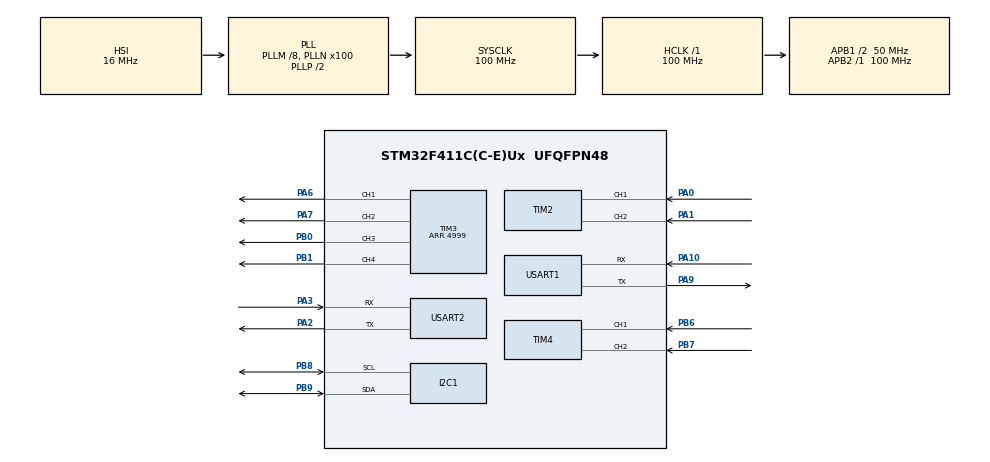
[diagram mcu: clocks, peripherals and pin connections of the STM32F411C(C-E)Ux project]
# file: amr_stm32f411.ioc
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Mcu.Family=STM32F4
Mcu.Name=STM32F411C(C-E)Ux
Mcu.Package=UFQFPN48
NVIC.PriorityGroup=NVIC_PRIORITYGROUP_4
PA0-WKUP.Signal=S_TIM2_CH1_ETR
PA1.Signal=S_TIM2_CH2
PA10.Mode=Asynchronous
PA10.Signal=USART1_RX
PA2.Mode=Asynchronous
PA2.Signal=USART2_TX
PA3.Mode=Asynchronous
PA3.Signal=USART2_RX
PA6.Signal=S_TIM3_CH1
PA7.Signal=S_TIM3_CH2
PA9.Mode=Asynchronous
PA9.Signal=USART1_TX
PB0.Signal=S_TIM3_CH3
PB1.Signal=S_TIM3_CH4
PB6.Signal=S_TIM4_CH1
PB7.Signal=S_TIM4_CH2
PB8.Mode=I2C
PB8.Signal=I2C1_SCL
PB9.Mode=I2C
PB9.Signal=I2C1_SDA
ProjectManager.HeapSize=0x200
ProjectManager.StackSize=0x400
ProjectManager.TargetToolchain=STM32CubeIDE
RCC.48MHZClocksFreq_Value=50000000
RCC.AHBFreq_Value=100000000
RCC.APB1CLKDivider=RCC_HCLK_DIV2
RCC.APB1Freq_Value=50000000
RCC.APB1TimFreq_Value=100000000
RCC.APB2Freq_Value=100000000
RCC.APB2TimFreq_Value=100000000
RCC.CortexFreq_Value=100000000
RCC.HCLKFreq_Value=100000000
RCC.HSE_VALUE=25000000
RCC.HSI_VALUE=16000000
RCC.LSE_VALUE=32768
RCC.PLLM=8
RCC.PLLN=100
RCC.SYSCLKFreq_VALUE=100000000
RCC.SYSCLKSource=RCC_SYSCLKSOURCE_PLLCLK
RCC.VCOOutputFreq_Value=200000000
SH.S_TIM2_CH1_ETR.0=TIM2_CH1,Encoder_Interface
SH.S_TIM2_CH2.0=TIM2_CH2,Encoder_Interface
SH.S_TIM3_CH1.0=TIM3_CH1,PWM Generation1 CH1
SH.S_TIM3_CH2.0=TIM3_CH2,PWM Generation2 CH2
SH.S_TIM3_CH3.0=TIM3_CH3,PWM Generation3 CH3
SH.S_TIM3_CH4.0=TIM3_CH4,PWM Generation4 CH4
SH.S_TIM4_CH1.0=TIM4_CH1,Encoder_Interface
SH.S_TIM4_CH2.0=TIM4_CH2,Encoder_Interface
TIM2.EncoderMode=TIM_ENCODERMODE_TI12
TIM3.Channel-PWM\ Generation1\ CH1=TIM_CHANNEL_1
TIM3.Channel-PWM\ Generation2\ CH2=TIM_CHANNEL_2
TIM3.Channel-PWM\ Generation3\ CH3=TIM_CHANNEL_3
TIM3.Channel-PWM\ Generation4\ CH4=TIM_CHANNEL_4
TIM3.Period=4999
TIM4.EncoderMode=TIM_ENCODERMODE_TI12
USART1.VirtualMode=VM_ASYNC
USART2.VirtualMode=VM_ASYNC
VP_TIM3_VS_ClockSourceINT.Mode=Internal
board=custom

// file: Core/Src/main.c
/* USER CODE BEGIN Header */
/**
  ******************************************************************************
  * @file           : main.c
  * @brief          : Main program body
  ******************************************************************************
  * @attention
  *
  * Copyright (c) 2026 STMicroelectronics.
  * All rights reserved.
  *
  * This software is licensed under terms that can be found in the LICENSE file
  * in the root directory of this software component.
  * If no LICENSE file comes with this software, it is provided AS-IS.
  *
  ******************************************************************************
  */
/* USER CODE END Header */
#include "main.h"

/* USER CODE BEGIN Includes */
#include <stdio.h>          /* snprintf cho debug output */
#include "motor_driver.h"
#include "servo_buslinker.h"
#include "jetson_comm.h"
#include "ackermann.h"
#include "bno055_test.h"  /* Test độc lập BNO055 qua I2C1 - xem CLAUDE.md mục 8 */
#include "dwt_log.h"      /* Đo timing baseline bằng DWT (branch baseline-dwt) */
/* USER CODE END Includes */

I2C_HandleTypeDef hi2c1;

TIM_HandleTypeDef htim2;
TIM_HandleTypeDef htim3;
TIM_HandleTypeDef htim4;

UART_HandleTypeDef huart1;
UART_HandleTypeDef huart2;

/* USER CODE BEGIN PV */
static uint32_t last_odom_ms = 0;     /* Mốc thời gian gửi odom gần nhất */
static float    current_steer = 0.0f; /* Góc lái hiện tại (độ) để gửi lên Jetson */

/* ===== Watchdog lệnh $VEL từ Jetson (AN TOÀN — bắt buộc, xem giải thích ở
 * vòng lặp chính bên dưới). Nếu Jetson ngừng gửi lệnh (crash, kill node, rút
 * cáp USART2), STM32 phải tự dừng motor, không thể trông chờ Jetson luôn gửi
 * lệnh đều đặn. ===== */
#define VEL_WATCHDOG_TIMEOUT_MS   300U  /* CẦN TUNE thực nghiệm: đủ ngắn để an
                                          * toàn, đủ dài để không dừng nhầm do
                                          * jitter mạng/CPU phía Jetson */
static uint32_t last_vel_rx_ms       = 0; /* Mốc thời gian nhận $VEL hợp lệ gần nhất */
static uint8_t  vel_watchdog_tripped = 0; /* Tránh gọi SetSpeed(0,0) lặp lại mỗi vòng lặp */

/* ===== Test độc lập BNO055 (xem bno055_test.h) — CHỈ để xác nhận module
 * sống trước khi tích hợp, chưa route vào ackermann.c/jetson_comm.c. ===== */
static BNO055_TestResult bno_result;      /* Kết quả quét địa chỉ + CHIP_ID lúc init */
static uint32_t          last_imu_ms = 0; /* Mốc thời gian đọc heading gần nhất */
#define IMU_READ_INTERVAL_MS  150U        /* 1 lần/150ms, không ảnh hưởng watchdog 300ms */

/* [ĐO] Số lần đã đo overhead ghi log (tối đa DWT_OVH_SAMPLES, xem dwt_log.h) */
static uint32_t dwt_ovh_done = 0;
/* USER CODE END PV */

void SystemClock_Config(void);
static void MX_GPIO_Init(void);
static void MX_TIM2_Init(void);
static void MX_TIM3_Init(void);
static void MX_TIM4_Init(void);
static void MX_USART1_UART_Init(void);
static void MX_USART2_UART_Init(void);
static void MX_I2C1_Init(void);
/* USER CODE BEGIN PFP */
static void on_cmd_vel(float linear, float angular);
/* USER CODE END PFP */

int main(void)
{

  /* MCU Configuration--------------------------------------------------------*/

  /* Reset of all peripherals, Initializes the Flash interface and the Systick. */
  HAL_Init();

  /* Configure the system clock */
  SystemClock_Config();

  /* USER CODE BEGIN SysInit */
  DWT_Init();   /* [ĐO] Bật DWT CYCCNT (100 MHz -> 10 ns/tick). Chỉ đếm, chưa ghi log. */
  /* USER CODE END SysInit */

  /* Initialize all configured peripherals */
  MX_GPIO_Init();
  MX_TIM2_Init();
  MX_TIM3_Init();
  MX_TIM4_Init();
  MX_USART1_UART_Init();
  MX_USART2_UART_Init();
  MX_I2C1_Init();
  /* USER CODE BEGIN 2 */
  HAL_Delay(500);          // Đủ để các module boot, không trigger motor timeout
  DRV_Motor_Init();        // Không check return — tiếp tục dù config fail
  DRV_Servo_Init();        // Servo về vị trí trung tâm (lái thẳng)
  APP_Comm_Init(on_cmd_vel); // Bật UART2 nhận lệnh "$VEL" từ Jetson

  /* ---- Test độc lập BNO055 (tạm thời, xem bno055_test.h) ---- */
  bno_result = BNO055_Test_Init(&hi2c1);
  {
      char dbg[48];
      int n = snprintf(dbg, sizeof(dbg), "$IMU,%u,0x%02X,0x%02X\n",
                        (unsigned)bno_result.found,
                        (unsigned)(bno_result.addr8 >> 1),
                        (unsigned)bno_result.chip_id);
      if (n > 0) {
          APP_Comm_DebugPrint(dbg); /* Gửi qua USART2 -> đọc được qua CH340 */
      }
  }
  /* USER CODE END 2 */

  /* Infinite loop */
  while (1)
  {

    /* USER CODE BEGIN 3 */
	  /* ---- Gửi odometry lên Jetson định kỳ mỗi 10ms (100 Hz) ---- */
	  uint32_t now = HAL_GetTick();
	  if (now - last_odom_ms >= 10U) {
		  last_odom_ms = now;

		  /* Đọc encoder 2 bánh */
		  int32_t enc_l = 0, enc_r = 0;
		  DRV_Motor_GetEncoder(&enc_l, &enc_r);

		  /* Gửi "$ODO,enc_l,enc_r,steer\n" lên Jetson */
		  /* [ĐO] EV_ODO bao trọn snprintf + gửi polling, len = số byte thật */
		  uint32_t dwt_t0 = DWT_Now();
		  int odo_len = APP_Comm_SendOdom(enc_l, enc_r, current_steer);
		  DWT_Log(EV_ODO, dwt_t0, DWT_Now(), (uint16_t)odo_len);

		  /* [ĐO] Đo chi phí của chính việc ghi log, chỉ DWT_OVH_SAMPLES lần đầu
		   * phiên đo (để không tốn chỗ trong buffer). EV_LOG_OVH bao trọn đúng
		   * 1 lần ghi bản ghi rỗng EV_DUMMY -> thời lượng của nó = chi phí
		   * 1 lần DWT_Log() + 1 lần DWT_Now(). */
		  if (log_active == DWT_LOG_RUN && dwt_ovh_done < DWT_OVH_SAMPLES) {
			  dwt_ovh_done++;
			  uint32_t dwt_ta = DWT_Now();
			  DWT_Log(EV_DUMMY, dwt_ta, dwt_ta, 0u);
			  DWT_Log(EV_LOG_OVH, dwt_ta, DWT_Now(), 0u);
		  }
	  }

	  /* ---- Vòng PID tốc độ 2 bánh (closed-loop, xem motor_driver.c/motor_pid.h).
	   * Tự throttle bên trong theo chu kỳ riêng, gọi mỗi vòng lặp không tốn gì
	   * khi chưa tới lúc. ---- */
	  DRV_Motor_UpdatePID();

	  /* ---- Xử lý lệnh "$VEL" nhận từ Jetson (gọi on_cmd_vel khi đủ frame) ---- */
	  APP_Comm_Parse();

	  /* [ĐO] Bắt đầu ghi log khi nhận $VEL hợp lệ ĐẦU TIÊN -- tránh buffer bị
	   * lấp đầy bởi giai đoạn chờ (xe đứng yên) trước khi script gửi lệnh. */
	  if (log_active == DWT_LOG_IDLE && last_vel_rx_ms != 0U) {
		  DWT_LogStart();
	  }

	  /* ---- AN TOÀN: watchdog $VEL — xem giải thích đầy đủ ở khai báo biến
	   * last_vel_rx_ms phía trên.
	   * ⚠️ BẮT BUỘC đọc lại HAL_GetTick() Ở ĐÂY, KHÔNG dùng biến 'now' chụp từ
	   * đầu vòng lặp (bug đã sửa 2026-09-05): APP_Comm_Parse() ở trên đặt
	   * last_vel_rx_ms = HAL_GetTick() tại thời điểm MỚI HƠN 'now' (do
	   * APP_Comm_SendOdom blocking ~2-3ms xen giữa). Khi last_vel_rx_ms > now,
	   * phép trừ unsigned TRÀN XUỐNG ~4.29 tỷ > 300 -> watchdog trip OAN ngay
	   * sau mỗi lệnh $VEL hợp lệ, cắt động cơ liên tục (biểu hiện: xe giật cục
	   * dù comm hoàn toàn tốt — $VEL nhận + parse 100% thành công). ---- */
	  uint32_t now_wd = HAL_GetTick();
	  if (last_vel_rx_ms != 0U && !vel_watchdog_tripped &&
	      (now_wd - last_vel_rx_ms) > VEL_WATCHDOG_TIMEOUT_MS) {
		  DRV_Motor_SetSpeed(0, 0);
		  vel_watchdog_tripped = 1U;
		  /* [ĐO] Script ngừng gửi $VEL -> kết thúc phiên đo, log_buf đứng yên
		   * để dump. Chỉ ĐỌC sự kiện watchdog, không đổi logic watchdog. */
		  DWT_LogStop();
	  }

	  /* ---- Test độc lập BNO055: đọc heading tối đa 1 lần/150ms, đặt SAU
	   * logic động cơ/servo, KHÔNG dùng HAL_Delay lớn -- không ảnh hưởng
	   * watchdog $VEL 300ms. Chỉ đọc nếu Init đã báo found=1. ---- */
	  if (bno_result.found && (now - last_imu_ms >= IMU_READ_INTERVAL_MS)) {
		  last_imu_ms = now;
		  float heading = 0.0f;
		  if (BNO055_Test_ReadHeading(&hi2c1, bno_result.addr8, &heading) == HAL_OK) {
			  char dbg[32];
			  int n = snprintf(dbg, sizeof(dbg), "$IMUH,%.1f\n", (double)heading);
			  if (n > 0) {
				  /* [ĐO] EV_IMUH chỉ bao lần gửi polling (không gồm đọc I2C) */
				  uint32_t dwt_t1 = DWT_Now();
				  APP_Comm_DebugPrint(dbg);
				  DWT_Log(EV_IMUH, dwt_t1, DWT_Now(), (uint16_t)n);
			  }
		  }
	  }
  }
  /* USER CODE END 3 */
}

void SystemClock_Config(void)
{
  RCC_OscInitTypeDef RCC_OscInitStruct = {0};
  RCC_ClkInitTypeDef RCC_ClkInitStruct = {0};

  /** Configure the main internal regulator output voltage
  */
  __HAL_RCC_PWR_CLK_ENABLE();
  __HAL_PWR_VOLTAGESCALING_CONFIG(PWR_REGULATOR_VOLTAGE_SCALE1);

  /** Initializes the RCC Oscillators according to the specified parameters
  * in the RCC_OscInitTypeDef structure.
  */
  RCC_OscInitStruct.OscillatorType = RCC_OSCILLATORTYPE_HSI;
  RCC_OscInitStruct.HSIState = RCC_HSI_ON;
  RCC_OscInitStruct.HSICalibrationValue = RCC_HSICALIBRATION_DEFAULT;
  RCC_OscInitStruct.PLL.PLLState = RCC_PLL_ON;
  RCC_OscInitStruct.PLL.PLLSource = RCC_PLLSOURCE_HSI;
  RCC_OscInitStruct.PLL.PLLM = 8;
  RCC_OscInitStruct.PLL.PLLN = 100;
  RCC_OscInitStruct.PLL.PLLP = RCC_PLLP_DIV2;
  RCC_OscInitStruct.PLL.PLLQ = 4;
  if (HAL_RCC_OscConfig(&RCC_OscInitStruct) != HAL_OK)
  {
    Error_Handler();
  }

  /** Initializes the CPU, AHB and APB buses clocks
  */
  RCC_ClkInitStruct.ClockType = RCC_CLOCKTYPE_HCLK|RCC_CLOCKTYPE_SYSCLK
                              |RCC_CLOCKTYPE_PCLK1|RCC_CLOCKTYPE_PCLK2;
  RCC_ClkInitStruct.SYSCLKSource = RCC_SYSCLKSOURCE_PLLCLK;
  RCC_ClkInitStruct.AHBCLKDivider = RCC_SYSCLK_DIV1;
  RCC_ClkInitStruct.APB1CLKDivider = RCC_HCLK_DIV2;
  RCC_ClkInitStruct.APB2CLKDivider = RCC_HCLK_DIV1;

  if (HAL_RCC_ClockConfig(&RCC_ClkInitStruct, FLASH_LATENCY_3) != HAL_OK)
  {
    Error_Handler();
  }
}

static void MX_I2C1_Init(void)
{

  hi2c1.Instance = I2C1;
  hi2c1.Init.ClockSpeed = 100000;
  hi2c1.Init.DutyCycle = I2C_DUTYCYCLE_2;
  hi2c1.Init.OwnAddress1 = 0;
  hi2c1.Init.AddressingMode = I2C_ADDRESSINGMODE_7BIT;
  hi2c1.Init.DualAddressMode = I2C_DUALADDRESS_DISABLE;
  hi2c1.Init.OwnAddress2 = 0;
  hi2c1.Init.GeneralCallMode = I2C_GENERALCALL_DISABLE;
  hi2c1.Init.NoStretchMode = I2C_NOSTRETCH_DISABLE;
  if (HAL_I2C_Init(&hi2c1) != HAL_OK)
  {
    Error_Handler();
  }

}

static void MX_TIM2_Init(void)
{

  TIM_Encoder_InitTypeDef sConfig = {0};
  TIM_MasterConfigTypeDef sMasterConfig = {0};

  htim2.Instance = TIM2;
  htim2.Init.Prescaler = 0;
  htim2.Init.CounterMode = TIM_COUNTERMODE_UP;
  htim2.Init.Period = 4294967295;
  htim2.Init.ClockDivision = TIM_CLOCKDIVISION_DIV1;
  htim2.Init.AutoReloadPreload = TIM_AUTORELOAD_PRELOAD_DISABLE;
  sConfig.EncoderMode = TIM_ENCODERMODE_TI12;
  sConfig.IC1Polarity = TIM_ICPOLARITY_RISING;
  sConfig.IC1Selection = TIM_ICSELECTION_DIRECTTI;
  sConfig.IC1Prescaler = TIM_ICPSC_DIV1;
  sConfig.IC1Filter = 0;
  sConfig.IC2Polarity = TIM_ICPOLARITY_RISING;
  sConfig.IC2Selection = TIM_ICSELECTION_DIRECTTI;
  sConfig.IC2Prescaler = TIM_ICPSC_DIV1;
  sConfig.IC2Filter = 0;
  if (HAL_TIM_Encoder_Init(&htim2, &sConfig) != HAL_OK)
  {
    Error_Handler();
  }
  sMasterConfig.MasterOutputTrigger = TIM_TRGO_RESET;
  sMasterConfig.MasterSlaveMode = TIM_MASTERSLAVEMODE_DISABLE;
  if (HAL_TIMEx_MasterConfigSynchronization(&htim2, &sMasterConfig) != HAL_OK)
  {
    Error_Handler();
  }

}

static void MX_TIM3_Init(void)
{

  TIM_ClockConfigTypeDef sClockSourceConfig = {0};
  TIM_MasterConfigTypeDef sMasterConfig = {0};
  TIM_OC_InitTypeDef sConfigOC = {0};

  htim3.Instance = TIM3;
  htim3.Init.Prescaler = 0;
  htim3.Init.CounterMode = TIM_COUNTERMODE_UP;
  htim3.Init.Period = 4999;
  htim3.Init.ClockDivision = TIM_CLOCKDIVISION_DIV1;
  htim3.Init.AutoReloadPreload = TIM_AUTORELOAD_PRELOAD_DISABLE;
  if (HAL_TIM_Base_Init(&htim3) != HAL_OK)
  {
    Error_Handler();
  }
  sClockSourceConfig.ClockSource = TIM_CLOCKSOURCE_INTERNAL;
  if (HAL_TIM_ConfigClockSource(&htim3, &sClockSourceConfig) != HAL_OK)
  {
    Error_Handler();
  }
  if (HAL_TIM_PWM_Init(&htim3) != HAL_OK)
  {
    Error_Handler();
  }
  sMasterConfig.MasterOutputTrigger = TIM_TRGO_RESET;
  sMasterConfig.MasterSlaveMode = TIM_MASTERSLAVEMODE_DISABLE;
  if (HAL_TIMEx_MasterConfigSynchronization(&htim3, &sMasterConfig) != HAL_OK)
  {
    Error_Handler();
  }
  sConfigOC.OCMode = TIM_OCMODE_PWM1;
  sConfigOC.Pulse = 0;
  sConfigOC.OCPolarity = TIM_OCPOLARITY_HIGH;
  sConfigOC.OCFastMode = TIM_OCFAST_DISABLE;
  if (HAL_TIM_PWM_ConfigChannel(&htim3, &sConfigOC, TIM_CHANNEL_1) != HAL_OK)
  {
    Error_Handler();
  }
  if (HAL_TIM_PWM_ConfigChannel(&htim3, &sConfigOC, TIM_CHANNEL_2) != HAL_OK)
  {
    Error_Handler();
  }
  if (HAL_TIM_PWM_ConfigChannel(&htim3, &sConfigOC, TIM_CHANNEL_3) != HAL_OK)
  {
    Error_Handler();
  }
  if (HAL_TIM_PWM_ConfigChannel(&htim3, &sConfigOC, TIM_CHANNEL_4) != HAL_OK)
  {
    Error_Handler();
  }
  HAL_TIM_MspPostInit(&htim3);

}

static void MX_TIM4_Init(void)
{

  TIM_Encoder_InitTypeDef sConfig = {0};
  TIM_MasterConfigTypeDef sMasterConfig = {0};

  htim4.Instance = TIM4;
  htim4.Init.Prescaler = 0;
  htim4.Init.CounterMode = TIM_COUNTERMODE_UP;
  htim4.Init.Period = 65535;
  htim4.Init.ClockDivision = TIM_CLOCKDIVISION_DIV1;
  htim4.Init.AutoReloadPreload = TIM_AUTORELOAD_PRELOAD_DISABLE;
  sConfig.EncoderMode = TIM_ENCODERMODE_TI12;
  sConfig.IC1Polarity = TIM_ICPOLARITY_RISING;
  sConfig.IC1Selection = TIM_ICSELECTION_DIRECTTI;
  sConfig.IC1Prescaler = TIM_ICPSC_DIV1;
  sConfig.IC1Filter = 0;
  sConfig.IC2Polarity = TIM_ICPOLARITY_RISING;
  sConfig.IC2Selection = TIM_ICSELECTION_DIRECTTI;
  sConfig.IC2Prescaler = TIM_ICPSC_DIV1;
  sConfig.IC2Filter = 0;
  if (HAL_TIM_Encoder_Init(&htim4, &sConfig) != HAL_OK)
  {
    Error_Handler();
  }
  sMasterConfig.MasterOutputTrigger = TIM_TRGO_RESET;
  sMasterConfig.MasterSlaveMode = TIM_MASTERSLAVEMODE_DISABLE;
  if (HAL_TIMEx_MasterConfigSynchronization(&htim4, &sMasterConfig) != HAL_OK)
  {
    Error_Handler();
  }

}

static void MX_USART1_UART_Init(void)
{

  huart1.Instance = USART1;
  huart1.Init.BaudRate = 115200;
  huart1.Init.WordLength = UART_WORDLENGTH_8B;
  huart1.Init.StopBits = UART_STOPBITS_1;
  huart1.Init.Parity = UART_PARITY_NONE;
  huart1.Init.Mode = UART_MODE_TX_RX;
  huart1.Init.HwFlowCtl = UART_HWCONTROL_NONE;
  huart1.Init.OverSampling = UART_OVERSAMPLING_16;
  if (HAL_UART_Init(&huart1) != HAL_OK)
  {
    Error_Handler();
  }

}

static void MX_USART2_UART_Init(void)
{

  huart2.Instance = USART2;
  huart2.Init.BaudRate = 115200;
  huart2.Init.WordLength = UART_WORDLENGTH_8B;
  huart2.Init.StopBits = UART_STOPBITS_1;
  huart2.Init.Parity = UART_PARITY_NONE;
  huart2.Init.Mode = UART_MODE_TX_RX;
  huart2.Init.HwFlowCtl = UART_HWCONTROL_NONE;
  huart2.Init.OverSampling = UART_OVERSAMPLING_16;
  if (HAL_UART_Init(&huart2) != HAL_OK)
  {
    Error_Handler();
  }

}

static void MX_GPIO_Init(void)
{

  /* GPIO Ports Clock Enable */
  __HAL_RCC_GPIOA_CLK_ENABLE();
  __HAL_RCC_GPIOB_CLK_ENABLE();

}

/* USER CODE BEGIN 4 */
/**
 * @brief  Callback nhận lệnh cmd_vel từ Jetson qua UART2.
 *         Gọi tự động từ APP_Comm_Parse() khi parse đủ 1 lệnh "$VEL" hợp lệ.
 * @note   Quy đổi Twist -> Ackermann nằm trong CALC_Ackermann (ackermann.c).
 *         Kiểm tra chiều quay motor và chiều lái servo trước khi chạy tự động.
 */
static void on_cmd_vel(float linear, float angular)
{
    int8_t spd_l, spd_r;
    /* Quy đổi cmd_vel -> tốc độ 2 bánh + góc lái; lưu góc lái để gửi odom */
    CALC_Ackermann(linear, angular, &spd_l, &spd_r, &current_steer);

    DRV_Motor_SetSpeed(spd_l, spd_r);
    DRV_Servo_SetAngle(current_steer);

    /* AN TOÀN: ghi nhận mốc thời gian nhận $VEL hợp lệ, reset cờ watchdog để
     * lần mất kết nối SAU vẫn phát hiện được (xem watchdog trong vòng lặp
     * chính, khai báo biến ở USER CODE PV). */
    last_vel_rx_ms       = HAL_GetTick();
    vel_watchdog_tripped = 0U;
}
/* USER CODE END 4 */

void Error_Handler(void)
{
  __disable_irq();
  while (1)
  {
  }
}
